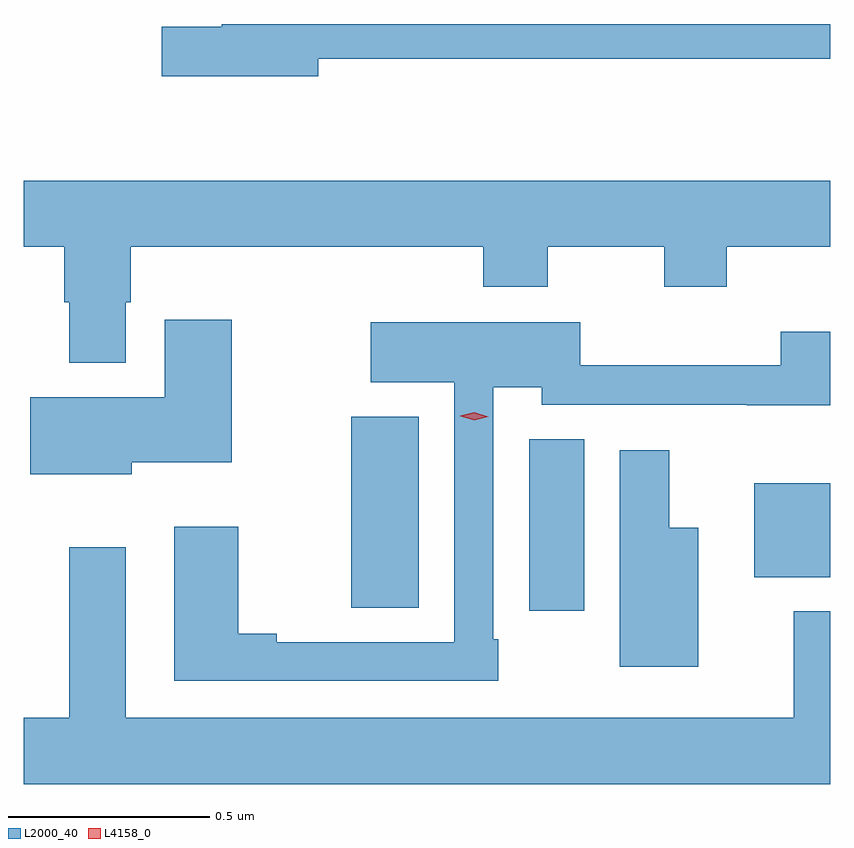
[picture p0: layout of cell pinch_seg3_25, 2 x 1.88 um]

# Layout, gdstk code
import gdstk
lib = gdstk.Library(unit=1e-6, precision=1e-09)
def R(c, l, rs):  # rectangles x0, y0, x1, y1
    for r in rs: c.add(gdstk.rectangle(r[:2], r[2:], *l))
def P(c, l, *ps):  # polygons
    for p in ps: c.add(gdstk.Polygon(p, *l))
L2000_40 = (2000, 40)
L4158_0 = (4158, 0)

pinch_seg3_25 = lib.new_cell('pinch_seg3_25')
R(pinch_seg3_25, L2000_40, [(1104.419,733.314,1104.556,733.739), (1103.978,733.321,1104.145,733.795), (1104.977,733.397,1105.166,733.63)])
P(pinch_seg3_25, L2000_40, [(1103.896,734.682),(1105.166,734.682),(1105.166,734.768),(1103.657,734.768),(1103.657,734.761),(1103.508,734.761),(1103.508,734.639),(1103.896,734.639)],
  [(1103.419,734.078),(1103.432,734.078),(1103.432,734.216),(1104.305,734.216),(1104.305,734.117),(1104.465,734.117),(1104.465,734.216),(1104.754,734.216),(1104.754,734.117),(1104.909,734.117),(1104.909,734.216),(1105.166,734.216),(1105.166,734.38),(1103.166,734.38),(1103.166,734.216),(1103.267,734.216),(1103.267,734.078),(1103.279,734.078),(1103.279,733.928),(1103.419,733.928)],
  [(1103.434,733.682),(1103.682,733.682),(1103.682,734.035),(1103.516,734.035),(1103.516,733.843),(1103.183,733.843),(1103.183,733.652),(1103.434,733.652)],
  [(1104.343,733.243),(1104.33,733.243),(1104.33,733.868),(1104.45,733.868),(1104.45,733.824),(1104.959,733.824),(1104.959,733.823),(1105.166,733.823),(1105.166,734.005),(1105.043,734.005),(1105.043,733.922),(1104.546,733.922),(1104.546,734.029),(1104.027,734.029),(1104.027,733.88),(1104.234,733.88),(1104.234,733.236),(1103.794,733.236),(1103.794,733.256),(1103.698,733.256),(1103.698,733.522),(1103.54,733.522),(1103.54,733.14),(1104.343,733.14)],
  [(1104.838,733.519),(1104.766,733.519),(1104.766,733.711),(1104.644,733.711),(1104.644,733.175),(1104.838,733.175)],
  [(1105.166,733.312),(1105.075,733.312),(1105.075,733.048),(1103.419,733.048),(1103.419,733.471),(1103.279,733.471),(1103.279,733.048),(1103.166,733.048),(1103.166,732.884),(1105.166,732.884)])
P(pinch_seg3_25, L4158_0, [(1104.283,733.786),(1104.248,733.796),(1104.248,733.796),(1104.248,733.797),(1104.283,733.806),(1104.318,733.795),(1104.318,733.795),(1104.318,733.795)])

lib.write_gds('pinch_seg3_25.gds')
